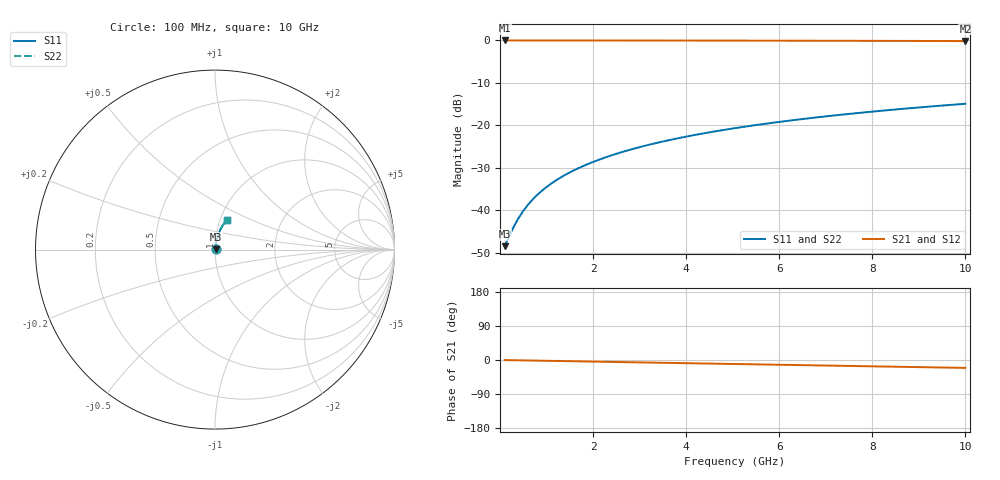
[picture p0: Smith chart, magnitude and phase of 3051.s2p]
# Hz S RI R 50.00
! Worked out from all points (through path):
!   100 points, 100 MHz to 10 GHz, reference 50 ohm
!   highest |S21| = -0.03 dB at 100 MHz (marker M1); lowest = -0.2 dB at 10 GHz (marker M2)
!   group delay of S21, straight-line fit = 5.79 ps
!   lowest |S11| = -48.4 dB at 100 MHz (marker M3), VSWR 1.01, Z = 50.3 + j0.185 ohm
!   |S11| at or under -10 dB: start of sweep to end of sweep
!   |S22| runs from -48.4 to -14.9 dB; largest |S21 - S12| = 0
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1e8  0.00331 0.00184  0.9967 -0.00365  0.9967 -0.00365  0.00331 0.00184
3e8  0.0034 0.0055  0.9966 -0.0109  0.9966 -0.0109  0.0034 0.0055
4e8  0.00346 0.00734  0.9965 -0.0146  0.9965 -0.0146  0.00346 0.00734
5e8  0.00353 0.00917  0.9964 -0.0182  0.9964 -0.0182  0.00353 0.00917
6e8  0.00361 0.011  0.9963 -0.0219  0.9963 -0.0219  0.00361 0.011
7e8  0.00371 0.0128  0.9962 -0.0255  0.9962 -0.0255  0.00371 0.0128
8e8  0.00382 0.0147  0.9961 -0.0292  0.9961 -0.0292  0.00382 0.0147
9e8  0.00394 0.0165  0.9959 -0.0328  0.9959 -0.0328  0.00394 0.0165
1e9  0.00407 0.0183  0.9957 -0.0365  0.9957 -0.0365  0.00407 0.0183
1.2e9  0.00438 0.022  0.9954 -0.0438  0.9954 -0.0438  0.00438 0.022
1.5e9  0.00494 0.0275  0.9947 -0.0547  0.9947 -0.0547  0.00494 0.0275
1.8e9  0.00562 0.0329  0.9938 -0.0656  0.9938 -0.0656  0.00562 0.0329
2.1e9  0.00641 0.0384  0.9928 -0.0765  0.9928 -0.0765  0.00641 0.0384
2.5e9  0.00766 0.0456  0.9913 -0.091  0.9913 -0.091  0.00766 0.0456
2.9e9  0.00911 0.0528  0.9895 -0.1054  0.9895 -0.1054  0.00911 0.0528
3.4e9  0.0112 0.0617  0.9868 -0.1234  0.9868 -0.1234  0.0112 0.0617
4.2e9  0.0153 0.0757  0.9818 -0.152  0.9818 -0.152  0.0153 0.0757
5.1e9  0.0208 0.0912  0.9748 -0.1838  0.9748 -0.1838  0.0208 0.0912
5.9e9  0.0265 0.1046  0.9676 -0.2118  0.9676 -0.2118  0.0265 0.1046
6.7e9  0.033 0.1176  0.9595 -0.2394  0.9595 -0.2394  0.033 0.1176
8.4e9  0.0491 0.1437  0.939 -0.2966  0.939 -0.2966  0.0491 0.1437
1e10  0.067 0.1663  0.9161 -0.3484  0.9161 -0.3484  0.067 0.1663
